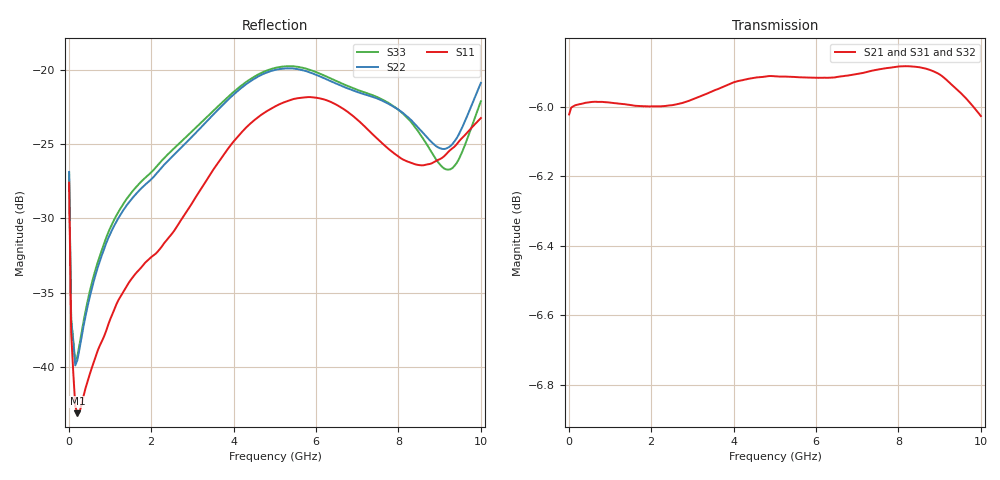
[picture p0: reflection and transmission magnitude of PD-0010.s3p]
! MARKI MICROWAVE INC.
! Email:  info@markimicrowave.com  Phone:  408-778-4200
! Model Number:  PD-0010  Date:  07/11
! Filename:		PD-0010.S3P  Version: 1.0
! Description:  3-port S-parameter data for Power Divider PD-0010
! Frequency Measured: 	10 MHz to 10 GHz
! Port Configuration:	PORT 1: COMMON, PORT 2 and Port 3: Output
! S3P File: Measurements: Mag<S11> Ang<S11> Mag<S12> Ang<S12> Mag<S13> Ang<S13>! row 1
!  Mag<S21> Ang<S21> Mag<S22> Ang<S22> Mag<S23> Ang<S23>! row 2
!  Mag<S31> Ang<S31> Mag<S32> Ang<S32> Mag<S33> Ang<S33>! row 3
# GHz S DB R 50
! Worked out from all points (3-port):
!   201 points, 10 MHz to 10 GHz, reference 50 ohm
!   strongest paths, dB at 10 MHz, 2.51 GHz, 5.01 GHz, 7.51 GHz, 10 GHz:
!     S21: -6.0, -6.0, -5.9, -5.9, -6.0
!     S31: -6.0, -6.0, -5.9, -5.9, -6.0
!     S32: -6.0, -6.1, -6.1, -6.2, -6.2
!   lowest |S11| = -43.1 dB at 210 MHz (marker M1), VSWR 1.01, Z = 50.1 + j0.697 ohm
!   |S11| at or under -10 dB: start of sweep to end of sweep
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0.01  -27.59 94.9  -6.00 -0.2  -5.99 -0.2
      -6.02 -0.2  -26.87 93.3  -5.97 -0.7
      -6.02 -0.3  -6.02 -0.6  -26.97 92.6
0.21  -43.11 85.1  -5.98 -5.3  -5.99 -5.4
      -5.99 -5.3  -39.53 73.2  -5.99 -13.9
      -6.00 -5.4  -6.00 -13.9  -39.27 73.2
2.71  -30.17 42.3  -5.98 -68.9  -6.01 -69.1
      -5.99 -68.9  -25.29 -3.9  -6.11 -178.2
      -6.02 -69.1  -6.12 -178.2  -24.88 -0.8
4.81  -22.77 6.3  -5.90 -122.7  -5.94 -123.0
      -5.91 -122.7  -20.17 -80.2  -6.10 43.9
      -5.95 -123.0  -6.11 43.9  -20.04 -76.6
4.86  -22.69 6.2  5.90 -124.0  -5.94 -124.3
      -5.91 -124.0  -20.12 -81.6  -6.10 40.6
      -5.95 -124.3  -6.11 40.6  -19.99 -78.0
4.91  -22.61 6.2  -5.90 -125.3  -5.94 -125.5
      -5.91 -125.3  -20.07 -83.1  -6.10 37.4
      -5.95 -125.6  -6.11 37.3  -19.94 -79.4
5.01  -22.45 6.2  -5.90 -127.8  -5.94 -128.1
      -5.91 -127.9  -20.00 -85.9  -6.10 30.8
      -5.95 -128.1  -6.11 30.8  -19.87 -82.2
6.91  -23.13 7.4  -5.90 -176.6  -5.95 -176.8
      -5.91 -176.6  -21.39 -147.9  -6.16 -93.8
      -5.96 -176.9  -6.17 -93.8  -21.24 -141.6
8.36  -26.32 -12.2  -5.88 145.8  -5.92 145.7
      -5.88 145.8  -23.53 159.8  -6.11 170.8
      -5.93 145.6  -6.12 170.8  -23.70 169.3
10  -23.24 -13.3  -6.02 103.0  -6.03 103.0
    -6.03 103.0  -20.87 56.2  -6.14 62.6
    -6.04 103.0  -6.16 62.5  -22.11 54.7
